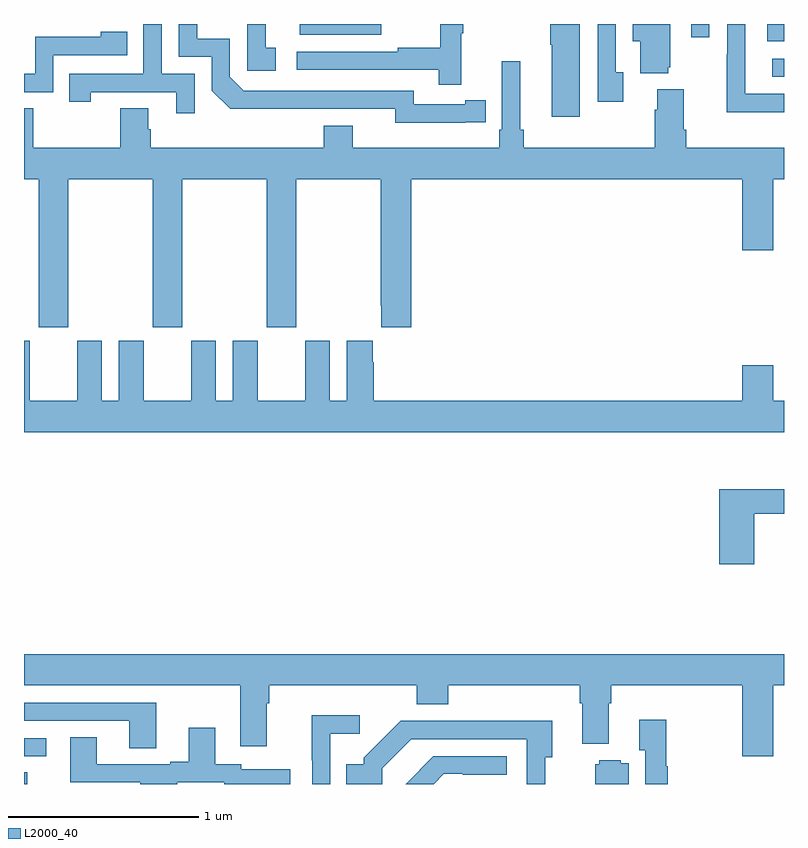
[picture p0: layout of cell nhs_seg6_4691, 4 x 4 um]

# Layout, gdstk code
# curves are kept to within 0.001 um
import gdstk
lib = gdstk.Library(unit=1e-6, precision=1e-09)
def R(c, l, rs):  # rectangles x0, y0, x1, y1
    for r in rs: c.add(gdstk.rectangle(r[:2], r[2:], *l))
def P(c, l, *ps):  # polygons
    for p in ps: c.add(gdstk.Polygon(p, *l))
L2000_40 = (2000, 40)

nhs_seg6_4691 = lib.new_cell('nhs_seg6_4691')
R(nhs_seg6_4691, L2000_40, [(389,929.5,389.016,929.561), (389,929.646,389.116,929.742), (392.937,933.222,393,933.318), (392.912,933.41,393,933.5), (392.511,933.429,392.607,933.5), (390.452,933.443,390.88,933.5)])
P(nhs_seg6_4691, L2000_40, [(392.39,933.273),(392.401,933.273),(392.401,933.5),(392.204,933.5),(392.204,933.41),(392.243,933.41),(392.243,933.242),(392.39,933.242)],
  [(391.301,933.451),(391.312,933.451),(391.312,933.5),(391.191,933.5),(391.191,933.374),(390.967,933.374),(390.967,933.354),(390.435,933.354),(390.435,933.258),(391.183,933.258),(391.183,933.18),(391.301,933.18)],
  [(390.325,933.375),(390.272,933.375),(390.272,933.5),(390.174,933.5),(390.174,933.255),(390.325,933.255)],
  [(391.322,932.982),(391.43,932.982),(391.43,933.098),(391.322,933.098),(391.322,933.078),(391.05,933.078),(391.05,933.15),(390.156,933.15),(390.084,933.222),(390.084,933.423),(389.911,933.423),(389.911,933.5),(389.814,933.5),(389.814,933.327),(389.988,933.327),(389.988,933.15),(390.086,933.053),(390.954,933.054),(390.954,932.981)],
  [(392.155,933.246),(392.115,933.246),(392.115,933.5),(392.019,933.5),(392.019,933.09),(392.155,933.09)],
  [(393,933.132),(392.796,933.132),(392.796,933.5),(392.7,933.5),(392.7,933.341),(392.698,933.341),(392.698,933.035),(393,933.035)],
  [(391.924,933.5),(391.771,933.5),(391.771,933.391),(391.778,933.391),(391.778,933.012),(391.924,933.012)],
  [(389.898,933.237),(389.724,933.237),(389.724,933.5),(389.628,933.5),(389.628,933.237),(389.239,933.237),(389.239,933.09),(389.35,933.09),(389.35,933.141),(389.801,933.141),(389.801,933.03),(389.898,933.03)],
  [(389.154,933.336),(389.543,933.336),(389.543,933.459),(389.403,933.459),(389.403,933.432),(389.058,933.432),(389.058,933.237),(389,933.237),(389,933.141),(389.154,933.141)],
  [(392.78,932.31),(392.944,932.31),(392.944,932.684),(393,932.684),(393,932.848),(392.486,932.848),(392.486,932.944),(392.473,932.944),(392.473,933.157),(392.333,933.157),(392.333,933.05),(392.321,933.05),(392.321,932.848),(391.631,932.848),(391.631,932.944),(391.612,932.944),(391.612,933.304),(391.515,933.304),(391.515,932.944),(391.502,932.944),(391.502,932.848),(390.73,932.848),(390.73,932.965),(390.578,932.965),(390.578,932.848),(389.666,932.848),(389.666,932.946),(389.653,932.946),(389.653,933.056),(389.506,933.056),(389.506,932.848),(389.049,932.848),(389.049,933.056),(389,933.056),(389,932.684),(389.077,932.684),(389.077,931.905),(389.232,931.905),(389.232,932.684),(389.677,932.684),(389.677,931.905),(389.832,931.905),(389.832,932.684),(390.277,932.684),(390.277,931.905),(390.432,931.905),(390.432,932.684),(390.877,932.684),(390.877,932.017),(390.881,932.017),(390.881,931.905),(391.037,931.905),(391.037,932.684),(392.78,932.684)],
  [(393,931.516),(392.944,931.516),(392.944,931.705),(392.78,931.705),(392.78,931.516),(390.842,931.516),(390.842,931.721),(390.835,931.721),(390.835,931.834),(390.698,931.834),(390.698,931.516),(390.61,931.516),(390.61,931.834),(390.479,931.834),(390.479,931.516),(390.229,931.516),(390.229,931.834),(390.098,931.834),(390.098,931.516),(390.01,931.516),(390.01,931.834),(389.879,931.834),(389.879,931.516),(389.629,931.516),(389.629,931.834),(389.498,931.834),(389.498,931.516),(389.41,931.516),(389.41,931.834),(389.279,931.834),(389.279,931.516),(389.029,931.516),(389.029,931.834),(389,931.834),(389,931.352),(393,931.352)],
  [(392.843,930.922),(393,930.922),(393,931.051),(392.66,931.051),(392.66,930.657),(392.843,930.657)],
  [(392.944,930.02),(393,930.02),(393,930.184),(389,930.184),(389,930.02),(390.137,930.02),(390.137,929.7),(390.277,929.7),(390.277,929.924),(390.29,929.924),(390.29,930.02),(391.067,930.02),(391.067,929.921),(391.232,929.921),(391.232,930.02),(391.925,930.02),(391.925,929.924),(391.937,929.924),(391.937,929.711),(392.077,929.711),(392.077,929.924),(392.09,929.924),(392.09,930.02),(392.78,930.02),(392.78,929.646),(392.944,929.646)],
  [(389.695,929.928),(389,929.928),(389,929.832),(389.555,929.832),(389.555,929.689),(389.695,929.689)],
  [(390.612,929.765),(390.766,929.765),(390.766,929.863),(390.514,929.863),(390.514,929.624),(390.516,929.624),(390.516,929.5),(390.612,929.5)],
  [(392.387,929.594),(392.38,929.594),(392.38,929.839),(392.237,929.839),(392.237,929.678),(392.271,929.678),(392.271,929.5),(392.387,929.5)],
  [(390.885,929.583),(391.038,929.736),(391.647,929.736),(391.647,929.5),(391.743,929.5),(391.743,929.642),(391.78,929.642),(391.78,929.834),(391.315,929.834),(391.315,929.832),(390.984,929.832),(390.789,929.637),(390.789,929.605),(390.697,929.605),(390.697,929.5),(390.885,929.5)],
  [(389.806,929.508),(390.054,929.508),(390.054,929.5),(390.4,929.5),(390.4,929.577),(390.144,929.577),(390.144,929.604),(390.007,929.604),(390.007,929.797),(389.867,929.797),(389.867,929.617),(389.771,929.617),(389.771,929.604),(389.383,929.604),(389.383,929.747),(389.243,929.747),(389.243,929.508),(389.613,929.508),(389.613,929.5),(389.806,929.5)],
  [(391.209,929.553),(391.309,929.553),(391.309,929.55),(391.54,929.55),(391.54,929.646),(391.154,929.646),(391.008,929.5),(391.156,929.5)],
  [(392.182,929.608),(392.142,929.608),(392.142,929.626),(392.028,929.626),(392.028,929.604),(392.006,929.604),(392.006,929.5),(392.182,929.5)])

lib.write_gds('nhs_seg6_4691.gds')
